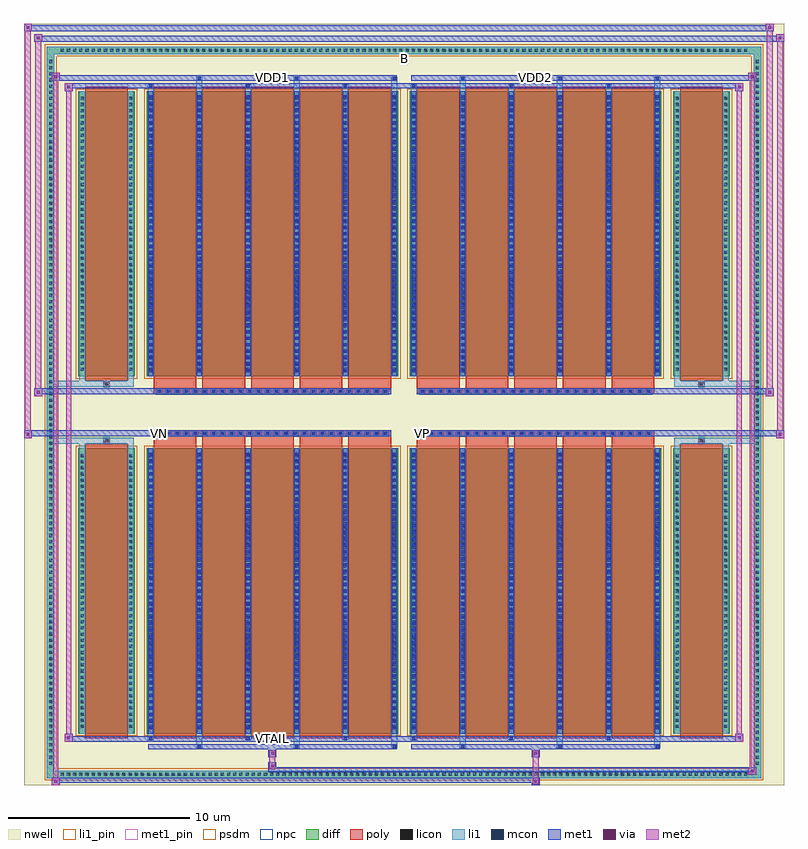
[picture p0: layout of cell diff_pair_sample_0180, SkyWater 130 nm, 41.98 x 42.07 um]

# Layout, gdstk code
import gdstk
lib = gdstk.Library(unit=1e-6, precision=5e-09)
def R(c, l, rs):  # rectangles x0, y0, x1, y1
    for r in rs: c.add(gdstk.rectangle(r[:2], r[2:], *l))
def A(c, l, x, y, w, h, nx, ny, dx, dy):  # array of equal rectangles
    R(c, l, [(x+i*dx, y+j*dy, x+i*dx+w, y+j*dy+h) for i in range(nx) for j in range(ny)])
def P(c, l, *ps):  # polygons
    for p in ps: c.add(gdstk.Polygon(p, *l))
nwell = (64, 20)
diff = (65, 20)
poly = (66, 20)
licon = (66, 44)
li1_pin = (67, 16)
li1 = (67, 20)
mcon = (67, 44)
met1_pin = (68, 16)
met1 = (68, 20)
via = (68, 44)
met2 = (69, 20)
psdm = (94, 20)
npc = (95, 20)

diff_pair_sample_0180 = lib.new_cell('diff_pair_sample_0180')
R(diff_pair_sample_0180, nwell, [(-20.99,-20.6,20.99,21.47), (-18.31,-18.79,-0.01,-0.795), (0.01,-18.79,18.31,-0.795), (-18.31,0.795,-0.01,18.79), (0.01,0.795,18.31,18.79)])
A(diff_pair_sample_0180, diff, -19.075, -20.2, 0.41, 0.41, 112, 2, 0.34, 39.99)
A(diff_pair_sample_0180, diff, -19.72, -19.585, 0.41, 0.41, 1, 115, 0, 0.34)
A(diff_pair_sample_0180, diff, 19.31, -19.585, 0.41, 0.41, 1, 115, 0, 0.34)
R(diff_pair_sample_0180, diff, [(-19.075,-20.2,19.075,-19.79), (-19.72,-19.585,-19.31,19.585), (19.31,-19.585,19.72,19.585), (-18,-17.745,-14.86,-1.985), (-14.22,-17.745,-0.32,-1.985), (0.32,-17.745,14.22,-1.985), (14.86,-17.745,18,-1.985), (-18,1.985,-14.86,17.745), (-14.22,1.985,-0.32,17.745), (0.32,1.985,14.22,17.745), (14.86,1.985,18,17.745), (-19.075,19.79,19.075,20.2)])
P(diff_pair_sample_0180, diff, [(19.72,20.2),(-19.72,20.2),(-19.72,-19.79),(-19.31,-19.79),(-19.31,19.79),(19.31,19.79),(19.31,-19.79),(-19.31,-19.79),(-19.72,-19.79),(-19.72,-20.2),(19.72,-20.2)])
A(diff_pair_sample_0180, poly, -13.83, -17.995, 2.36, 16.26, 5, 2, 2.69, 19.73)
A(diff_pair_sample_0180, poly, 0.71, -17.995, 2.36, 16.26, 5, 2, 2.69, 19.73)
A(diff_pair_sample_0180, poly, -13.83, -1.735, 2.36, 0.41, 5, 2, 2.69, 3.06)
A(diff_pair_sample_0180, poly, 0.71, -1.735, 2.36, 0.41, 5, 2, 2.69, 3.06)
A(diff_pair_sample_0180, poly, -13.685, -1.325, 0.33, 0.33, 26, 2, 0.5, 2.32)
A(diff_pair_sample_0180, poly, 0.855, -1.325, 0.33, 0.33, 26, 2, 0.5, 2.32)
R(diff_pair_sample_0180, poly, [(-17.61,-17.995,-15.25,-1.735), (15.25,-17.995,17.61,-1.735), (-16.595,-1.735,-16.265,-1.405), (-16.595,-1.735,-16.265,-1.405), (16.265,-1.735,16.595,-1.405), (16.265,-1.735,16.595,-1.405), (-13.83,-1.325,-0.71,-0.995), (0.71,-1.325,13.83,-0.995), (-13.83,0.995,-0.71,1.325), (0.71,0.995,13.83,1.325), (-16.595,1.405,-16.265,1.735), (-16.595,1.405,-16.265,1.735), (16.265,1.405,16.595,1.735), (16.265,1.405,16.595,1.735), (-17.61,1.735,-15.25,17.995), (15.25,1.735,17.61,17.995)])
A(diff_pair_sample_0180, licon, -18.955, -20.08, 0.17, 0.17, 112, 2, 0.34, 39.99)
A(diff_pair_sample_0180, licon, -19.6, -19.465, 0.17, 0.17, 1, 115, 0, 0.34)
A(diff_pair_sample_0180, licon, 19.43, -19.465, 0.17, 0.17, 1, 115, 0, 0.34)
A(diff_pair_sample_0180, licon, -17.86, -17.43, 0.17, 0.17, 1, 45, 0, 0.34)
A(diff_pair_sample_0180, licon, -15.17, -17.43, 0.17, 0.17, 1, 45, 0, 0.34)
A(diff_pair_sample_0180, licon, -14.08, -17.43, 0.17, 0.17, 6, 45, 2.69, 0.34)
A(diff_pair_sample_0180, licon, 0.46, -17.43, 0.17, 0.17, 6, 45, 2.69, 0.34)
A(diff_pair_sample_0180, licon, 15, -17.43, 0.17, 0.17, 1, 45, 0, 0.34)
A(diff_pair_sample_0180, licon, 17.69, -17.43, 0.17, 0.17, 1, 45, 0, 0.34)
A(diff_pair_sample_0180, licon, -13.605, -1.245, 0.17, 0.17, 26, 2, 0.5, 2.32)
A(diff_pair_sample_0180, licon, 0.935, -1.245, 0.17, 0.17, 26, 2, 0.5, 2.32)
A(diff_pair_sample_0180, licon, -17.86, 2.3, 0.17, 0.17, 1, 45, 0, 0.34)
A(diff_pair_sample_0180, licon, -15.17, 2.3, 0.17, 0.17, 1, 45, 0, 0.34)
A(diff_pair_sample_0180, licon, -14.08, 2.3, 0.17, 0.17, 6, 45, 2.69, 0.34)
A(diff_pair_sample_0180, licon, 0.46, 2.3, 0.17, 0.17, 6, 45, 2.69, 0.34)
A(diff_pair_sample_0180, licon, 15, 2.3, 0.17, 0.17, 1, 45, 0, 0.34)
A(diff_pair_sample_0180, licon, 17.69, 2.3, 0.17, 0.17, 1, 45, 0, 0.34)
R(diff_pair_sample_0180, licon, [(-16.515,-1.655,-16.345,-1.485), (16.345,-1.655,16.515,-1.485), (-16.515,1.485,-16.345,1.655), (16.345,1.485,16.515,1.655)])
R(diff_pair_sample_0180, li1_pin, [(-0.25,19.29,0.25,19.79)])
A(diff_pair_sample_0180, li1, -19.035, -20.16, 0.33, 0.33, 112, 2, 0.34, 39.99)
A(diff_pair_sample_0180, li1, -19.68, -19.545, 0.33, 0.33, 1, 115, 0, 0.34)
A(diff_pair_sample_0180, li1, 19.35, -19.545, 0.33, 0.33, 1, 115, 0, 0.34)
A(diff_pair_sample_0180, li1, -11.47, -18.55, 0.33, 0.805, 3, 2, 5.38, 36.295)
A(diff_pair_sample_0180, li1, -11.39, -18.55, 0.17, 0.17, 3, 2, 5.38, 36.93)
A(diff_pair_sample_0180, li1, 3.07, -18.55, 0.33, 0.805, 3, 2, 5.38, 36.295)
A(diff_pair_sample_0180, li1, 3.15, -18.55, 0.17, 0.17, 3, 2, 5.38, 36.93)
A(diff_pair_sample_0180, li1, -14.16, -18.12, 0.33, 0.375, 3, 2, 5.38, 35.865)
A(diff_pair_sample_0180, li1, -14.08, -18.12, 0.17, 0.17, 3, 2, 5.38, 36.07)
A(diff_pair_sample_0180, li1, 0.38, -18.12, 0.33, 0.375, 3, 2, 5.38, 35.865)
A(diff_pair_sample_0180, li1, 0.46, -18.12, 0.17, 0.17, 3, 2, 5.38, 36.07)
A(diff_pair_sample_0180, li1, -14.16, -17.745, 0.33, 15.76, 6, 2, 2.69, 19.73)
A(diff_pair_sample_0180, li1, 0.38, -17.745, 0.33, 15.76, 6, 2, 2.69, 19.73)
A(diff_pair_sample_0180, li1, -17.94, -17.51, 0.33, 0.33, 1, 45, 0, 0.34)
A(diff_pair_sample_0180, li1, -15.25, -17.51, 0.33, 0.33, 1, 45, 0, 0.34)
A(diff_pair_sample_0180, li1, -14.16, -17.51, 0.33, 0.33, 6, 45, 2.69, 0.34)
A(diff_pair_sample_0180, li1, -14.08, -17.51, 0.17, 0.17, 6, 43, 2.69, 0.36)
A(diff_pair_sample_0180, li1, -14.08, -17.51, 0.17, 15.29, 6, 2, 2.69, 19.73)
A(diff_pair_sample_0180, li1, 0.38, -17.51, 0.33, 0.33, 6, 45, 2.69, 0.34)
A(diff_pair_sample_0180, li1, 0.46, -17.51, 0.17, 0.17, 6, 43, 2.69, 0.36)
A(diff_pair_sample_0180, li1, 0.46, -17.51, 0.17, 15.29, 6, 2, 2.69, 19.73)
A(diff_pair_sample_0180, li1, 14.92, -17.51, 0.33, 0.33, 1, 45, 0, 0.34)
A(diff_pair_sample_0180, li1, 17.61, -17.51, 0.33, 0.33, 1, 45, 0, 0.34)
A(diff_pair_sample_0180, li1, -13.685, -1.325, 0.33, 0.33, 26, 2, 0.5, 2.32)
A(diff_pair_sample_0180, li1, 0.855, -1.325, 0.33, 0.33, 26, 2, 0.5, 2.32)
A(diff_pair_sample_0180, li1, -17.94, 2.22, 0.33, 0.33, 1, 45, 0, 0.34)
A(diff_pair_sample_0180, li1, -15.25, 2.22, 0.33, 0.33, 1, 45, 0, 0.34)
A(diff_pair_sample_0180, li1, -14.16, 2.22, 0.33, 0.33, 6, 45, 2.69, 0.34)
A(diff_pair_sample_0180, li1, -14.08, 2.22, 0.17, 0.17, 6, 43, 2.69, 0.36)
A(diff_pair_sample_0180, li1, 0.38, 2.22, 0.33, 0.33, 6, 45, 2.69, 0.34)
A(diff_pair_sample_0180, li1, 0.46, 2.22, 0.17, 0.17, 6, 43, 2.69, 0.36)
A(diff_pair_sample_0180, li1, 14.92, 2.22, 0.33, 0.33, 1, 45, 0, 0.34)
A(diff_pair_sample_0180, li1, 17.61, 2.22, 0.33, 0.33, 1, 45, 0, 0.34)
R(diff_pair_sample_0180, li1, [(-19.72,-20.2,-19.31,-19.79), (-19.72,-20.2,-19.31,-19.79), (-19.31,-20.2,19.31,-19.79), (19.31,-20.2,19.72,-19.79), (19.31,-20.2,19.72,-19.79), (-19.72,-19.79,-19.31,19.79), (19.31,-19.79,19.72,19.79), (-17.94,-17.745,-17.61,-1.985), (-15.25,-17.745,-14.92,-1.985), (14.92,-17.745,15.25,-1.985), (17.61,-17.745,17.94,-1.985), (-17.94,-1.985,-17.61,-1.405), (-15.25,-1.985,-14.92,-1.405), (14.92,-1.985,15.25,-1.405), (17.61,-1.985,17.94,-1.405), (-19.72,-1.735,-16.595,-1.405), (-17.94,-1.735,-16.595,-1.405), (-16.595,-1.735,-16.265,-1.405), (-16.265,-1.735,-14.92,-1.405), (14.92,-1.735,16.265,-1.405), (16.265,-1.735,16.595,-1.405), (16.265,-1.735,19.72,-1.405), (16.595,-1.735,17.94,-1.405), (-19.72,1.405,-16.595,1.735), (-17.94,1.405,-16.595,1.735), (-17.94,1.405,-17.61,1.985), (-16.595,1.405,-16.265,1.735), (-16.265,1.405,-14.92,1.735), (-15.25,1.405,-14.92,1.985), (14.92,1.405,16.265,1.735), (14.92,1.405,15.25,1.985), (16.265,1.405,16.595,1.735), (16.265,1.405,19.72,1.735), (16.595,1.405,17.94,1.735), (17.61,1.405,17.94,1.985), (-17.94,1.985,-17.61,17.745), (-15.25,1.985,-14.92,17.745), (14.92,1.985,15.25,17.745), (17.61,1.985,17.94,17.745), (-19.72,19.79,-19.31,20.2), (-19.72,19.79,-19.31,20.2), (-19.31,19.79,19.31,20.2), (19.31,19.79,19.72,20.2), (19.31,19.79,19.72,20.2)])
A(diff_pair_sample_0180, mcon, -11.39, -18.55, 0.17, 0.17, 3, 2, 5.38, 36.93)
A(diff_pair_sample_0180, mcon, 3.15, -18.55, 0.17, 0.17, 3, 2, 5.38, 36.93)
A(diff_pair_sample_0180, mcon, -14.08, -18.12, 0.17, 0.17, 3, 2, 5.38, 36.07)
A(diff_pair_sample_0180, mcon, 0.46, -18.12, 0.17, 0.17, 3, 2, 5.38, 36.07)
A(diff_pair_sample_0180, mcon, -14.08, -17.51, 0.17, 0.17, 6, 43, 2.69, 0.36)
A(diff_pair_sample_0180, mcon, 0.46, -17.51, 0.17, 0.17, 6, 43, 2.69, 0.36)
A(diff_pair_sample_0180, mcon, -13.605, -1.245, 0.17, 0.17, 26, 2, 0.5, 2.32)
A(diff_pair_sample_0180, mcon, 0.935, -1.245, 0.17, 0.17, 26, 2, 0.5, 2.32)
A(diff_pair_sample_0180, mcon, -14.08, 2.22, 0.17, 0.17, 6, 43, 2.69, 0.36)
A(diff_pair_sample_0180, mcon, 0.46, 2.22, 0.17, 0.17, 6, 43, 2.69, 0.36)
R(diff_pair_sample_0180, met1_pin, [(-7.405,-18.16,-7.135,-17.89), (-13.655,-1.285,-13.385,-1.015), (0.885,-1.285,1.155,-1.015), (-7.405,18.34,-7.135,18.61), (7.135,18.34,7.405,18.61)])
A(diff_pair_sample_0180, met1, -11.45, -18.61, 0.29, 0.29, 3, 2, 5.38, 36.93)
A(diff_pair_sample_0180, met1, 3.09, -18.61, 0.29, 0.29, 3, 2, 5.38, 36.93)
A(diff_pair_sample_0180, met1, -14.14, -18.18, 0.29, 0.29, 3, 2, 5.38, 36.07)
A(diff_pair_sample_0180, met1, 0.4, -18.18, 0.29, 0.29, 3, 2, 5.38, 36.07)
A(diff_pair_sample_0180, met1, -14.14, -17.745, 0.29, 15.76, 6, 2, 2.69, 19.73)
A(diff_pair_sample_0180, met1, 0.4, -17.745, 0.29, 15.76, 6, 2, 2.69, 19.73)
A(diff_pair_sample_0180, met1, -14.14, -17.57, 0.29, 0.29, 6, 43, 2.69, 0.36)
A(diff_pair_sample_0180, met1, 0.4, -17.57, 0.29, 0.29, 6, 43, 2.69, 0.36)
A(diff_pair_sample_0180, met1, -13.665, -1.305, 0.29, 0.29, 26, 2, 0.5, 2.32)
A(diff_pair_sample_0180, met1, 0.875, -1.305, 0.29, 0.29, 26, 2, 0.5, 2.32)
A(diff_pair_sample_0180, met1, -14.14, 2.16, 0.29, 0.29, 6, 43, 2.69, 0.36)
A(diff_pair_sample_0180, met1, 0.4, 2.16, 0.29, 0.29, 6, 43, 2.69, 0.36)
R(diff_pair_sample_0180, met1, [(-19.45,-20.6,-19.02,-20.17), (7.055,-20.6,7.485,-20.17), (-19.45,-20.46,7.485,-20.17), (19.02,-20.03,19.45,-19.6), (-7.485,-19.89,19.45,-19.6), (-7.485,-19.75,-7.055,-19.32), (-7.485,-19.04,-7.055,-18.61), (7.055,-19.04,7.485,-18.61), (-14.14,-18.61,-0.4,-18.32), (0.4,-18.61,14.14,-18.32), (-18.74,-18.18,-18.31,-17.75), (-18.74,-18.18,-14.14,-17.89), (-14.14,-18.18,-0.4,-17.89), (-0.4,-18.18,0.4,-17.89), (0.4,-18.18,14.14,-17.89), (14.14,-18.18,18.74,-17.89), (18.31,-18.18,18.74,-17.75), (-20.99,-1.425,-20.56,-0.995), (20.56,-1.425,20.99,-0.995), (-20.99,-1.325,-0.71,-0.995), (-13.83,-1.325,-0.71,-0.995), (0.71,-1.325,13.83,-0.995), (0.71,-1.325,20.99,-0.995), (-20.42,0.895,-19.99,1.325), (19.99,0.895,20.42,1.325), (-20.42,0.995,-13.83,1.325), (-13.83,0.995,-0.71,1.325), (0.71,0.995,13.83,1.325), (13.83,0.995,20.42,1.325), (-18.74,17.75,-18.31,18.18), (18.31,17.75,18.74,18.18), (-18.74,17.89,-14.14,18.18), (-14.14,17.89,-0.4,18.18), (-0.4,17.89,0.4,18.18), (0.4,17.89,14.14,18.18), (14.14,17.89,18.74,18.18), (-19.45,18.32,-19.02,18.75), (-19.45,18.32,-14.14,18.61), (-14.14,18.32,-0.4,18.61), (0.4,18.32,14.14,18.61), (14.14,18.32,19.45,18.61), (19.02,18.32,19.45,18.75), (-20.42,20.47,-19.99,20.9), (-20.42,20.47,-18.31,20.8), (-18.31,20.47,18.31,20.8), (18.31,20.47,20.99,20.8), (20.56,20.47,20.99,20.9), (-20.99,21.04,-20.56,21.47), (-20.99,21.04,-18.31,21.37), (-18.31,21.04,18.31,21.37), (18.31,21.04,20.42,21.37), (19.99,21.04,20.42,21.47)])
R(diff_pair_sample_0180, via, [(-19.31,-20.46,-19.16,-20.31), (7.195,-20.46,7.345,-20.31), (19.16,-19.89,19.31,-19.74), (-7.345,-19.61,-7.195,-19.46), (-7.345,-18.9,-7.195,-18.75), (7.195,-18.9,7.345,-18.75), (-18.6,-18.04,-18.45,-17.89), (18.45,-18.04,18.6,-17.89), (-20.85,-1.285,-20.7,-1.135), (20.7,-1.285,20.85,-1.135), (-20.28,1.035,-20.13,1.185), (20.13,1.035,20.28,1.185), (-18.6,17.89,-18.45,18.04), (18.45,17.89,18.6,18.04), (-19.31,18.46,-19.16,18.61), (19.16,18.46,19.31,18.61), (-20.28,20.61,-20.13,20.76), (20.7,20.61,20.85,20.76), (-20.85,21.18,-20.7,21.33), (20.13,21.18,20.28,21.33)])
R(diff_pair_sample_0180, met2, [(-19.45,-20.6,-19.02,-20.17), (-19.38,-20.6,-19.09,18.75), (-19.09,-20.6,-19.02,-20.17), (-19.4,-20.55,-19.07,-20.22), (7.105,-20.55,7.435,-20.22), (7.105,-20.22,7.435,-18.99), (19.02,-20.03,19.45,-19.6), (19.09,-20.03,19.38,18.75), (19.38,-20.03,19.45,-19.6), (19.07,-19.98,19.4,-19.65), (-7.435,-19.7,-7.105,-19.37), (-7.435,-19.37,-7.105,-18.99), (-7.435,-18.99,-7.105,-18.66), (7.105,-18.99,7.435,-18.66), (-18.74,-18.18,-18.31,-17.75), (-18.67,-18.18,-18.38,18.18), (-18.38,-18.18,-18.31,-17.75), (18.31,-18.18,18.74,-17.75), (18.38,-18.18,18.67,18.18), (18.67,-18.18,18.74,-17.75), (-18.69,-18.13,-18.36,-17.8), (18.36,-18.13,18.69,-17.8), (-20.99,-1.425,-20.56,-0.995), (-20.94,-1.425,-20.61,21.47), (-20.61,-1.425,-20.56,-0.995), (20.56,-1.425,20.99,-0.995), (20.61,-1.425,20.94,20.9), (20.94,-1.425,20.99,-0.995), (-20.94,-1.375,-20.61,-1.045), (20.61,-1.375,20.94,-1.045), (-20.42,0.895,-19.99,1.325), (-20.37,0.895,-20.04,20.9), (-20.04,0.895,-19.99,1.325), (19.99,0.895,20.42,1.325), (20.04,0.895,20.37,21.47), (20.37,0.895,20.42,1.325), (-20.37,0.945,-20.04,1.275), (20.04,0.945,20.37,1.275), (-18.74,17.75,-18.31,18.18), (-18.38,17.75,-18.31,18.18), (18.31,17.75,18.74,18.18), (18.67,17.75,18.74,18.18), (-18.69,17.8,-18.36,18.13), (18.36,17.8,18.69,18.13), (-19.45,18.32,-19.02,18.75), (-19.09,18.32,-19.02,18.75), (19.02,18.32,19.45,18.75), (19.38,18.32,19.45,18.75), (-19.4,18.37,-19.07,18.7), (19.07,18.37,19.4,18.7), (-20.42,20.47,-19.99,20.9), (-20.04,20.47,-19.99,20.9), (20.56,20.47,20.99,20.9), (20.94,20.47,20.99,20.9), (-20.37,20.52,-20.04,20.85), (20.61,20.52,20.94,20.85), (-20.99,21.04,-20.56,21.47), (-20.61,21.04,-20.56,21.47), (19.99,21.04,20.42,21.47), (20.37,21.04,20.42,21.47), (-20.94,21.09,-20.61,21.42), (20.04,21.09,20.37,21.42)])
R(diff_pair_sample_0180, psdm, [(-18.13,-17.875,-14.73,-1.855), (-14.35,-17.875,-0.19,-1.855), (0.19,-17.875,14.35,-1.855), (14.73,-17.875,18.13,-1.855), (-18.13,1.855,-14.73,17.875), (-14.35,1.855,-0.19,17.875), (0.19,1.855,14.35,17.875), (14.73,1.855,18.13,17.875)])
P(diff_pair_sample_0180, psdm, [(19.85,20.33),(-19.85,20.33),(-19.85,-19.66),(-19.18,-19.66),(-19.18,19.66),(19.18,19.66),(19.18,-19.66),(-19.18,-19.66),(-19.85,-19.66),(-19.85,-20.33),(19.85,-20.33)])
A(diff_pair_sample_0180, npc, -13.705, -1.345, 0.37, 0.37, 26, 2, 0.5, 2.32)
A(diff_pair_sample_0180, npc, 0.835, -1.345, 0.37, 0.37, 26, 2, 0.5, 2.32)
R(diff_pair_sample_0180, npc, [(-16.615,-1.755,-16.245,-1.385), (16.245,-1.755,16.615,-1.385), (-13.705,-1.345,-12.835,-0.975), (-13.705,-1.345,-12.835,-0.975), (-13.205,-1.345,-12.335,-0.975), (-13.205,-1.345,-12.335,-0.975), (-12.705,-1.345,-11.835,-0.975), (-12.705,-1.345,-11.835,-0.975), (-12.205,-1.345,-11.335,-0.975), (-12.205,-1.345,-11.335,-0.975), (-11.705,-1.345,-10.835,-0.975), (-11.705,-1.345,-10.835,-0.975), (-11.205,-1.345,-10.335,-0.975), (-11.205,-1.345,-10.335,-0.975), (-10.705,-1.345,-9.835,-0.975), (-10.705,-1.345,-9.835,-0.975), (-10.205,-1.345,-9.335,-0.975), (-10.205,-1.345,-9.335,-0.975), (-9.705,-1.345,-8.835,-0.975), (-9.705,-1.345,-8.835,-0.975), (-9.205,-1.345,-8.335,-0.975), (-9.205,-1.345,-8.335,-0.975), (-8.705,-1.345,-7.835,-0.975), (-8.705,-1.345,-7.835,-0.975), (-8.205,-1.345,-7.335,-0.975), (-8.205,-1.345,-7.335,-0.975), (-7.705,-1.345,-6.835,-0.975), (-7.705,-1.345,-6.835,-0.975), (-7.205,-1.345,-6.335,-0.975), (-7.205,-1.345,-6.335,-0.975), (-6.705,-1.345,-5.835,-0.975), (-6.705,-1.345,-5.835,-0.975), (-6.205,-1.345,-5.335,-0.975), (-6.205,-1.345,-5.335,-0.975), (-5.705,-1.345,-4.835,-0.975), (-5.705,-1.345,-4.835,-0.975), (-5.205,-1.345,-4.335,-0.975), (-5.205,-1.345,-4.335,-0.975), (-4.705,-1.345,-3.835,-0.975), (-4.705,-1.345,-3.835,-0.975), (-4.205,-1.345,-3.335,-0.975), (-4.205,-1.345,-3.335,-0.975), (-3.705,-1.345,-2.835,-0.975), (-3.705,-1.345,-2.835,-0.975), (-3.205,-1.345,-2.335,-0.975), (-3.205,-1.345,-2.335,-0.975), (-2.705,-1.345,-1.835,-0.975), (-2.705,-1.345,-1.835,-0.975), (-2.205,-1.345,-1.335,-0.975), (-2.205,-1.345,-1.335,-0.975), (-1.705,-1.345,-0.835,-0.975), (-1.705,-1.345,-0.835,-0.975), (0.835,-1.345,1.705,-0.975), (0.835,-1.345,1.705,-0.975), (1.335,-1.345,2.205,-0.975), (1.335,-1.345,2.205,-0.975), (1.835,-1.345,2.705,-0.975), (1.835,-1.345,2.705,-0.975), (2.335,-1.345,3.205,-0.975), (2.335,-1.345,3.205,-0.975), (2.835,-1.345,3.705,-0.975), (2.835,-1.345,3.705,-0.975), (3.335,-1.345,4.205,-0.975), (3.335,-1.345,4.205,-0.975), (3.835,-1.345,4.705,-0.975), (3.835,-1.345,4.705,-0.975), (4.335,-1.345,5.205,-0.975), (4.335,-1.345,5.205,-0.975), (4.835,-1.345,5.705,-0.975), (4.835,-1.345,5.705,-0.975), (5.335,-1.345,6.205,-0.975), (5.335,-1.345,6.205,-0.975), (5.835,-1.345,6.705,-0.975), (5.835,-1.345,6.705,-0.975), (6.335,-1.345,7.205,-0.975), (6.335,-1.345,7.205,-0.975), (6.835,-1.345,7.705,-0.975), (6.835,-1.345,7.705,-0.975), (7.335,-1.345,8.205,-0.975), (7.335,-1.345,8.205,-0.975), (7.835,-1.345,8.705,-0.975), (7.835,-1.345,8.705,-0.975), (8.335,-1.345,9.205,-0.975), (8.335,-1.345,9.205,-0.975), (8.835,-1.345,9.705,-0.975), (8.835,-1.345,9.705,-0.975), (9.335,-1.345,10.205,-0.975), (9.335,-1.345,10.205,-0.975), (9.835,-1.345,10.705,-0.975), (9.835,-1.345,10.705,-0.975), (10.335,-1.345,11.205,-0.975), (10.335,-1.345,11.205,-0.975), (10.835,-1.345,11.705,-0.975), (10.835,-1.345,11.705,-0.975), (11.335,-1.345,12.205,-0.975), (11.335,-1.345,12.205,-0.975), (11.835,-1.345,12.705,-0.975), (11.835,-1.345,12.705,-0.975), (12.335,-1.345,13.205,-0.975), (12.335,-1.345,13.205,-0.975), (12.835,-1.345,13.705,-0.975), (12.835,-1.345,13.705,-0.975), (-13.705,0.975,-12.835,1.345), (-13.705,0.975,-12.835,1.345), (-13.205,0.975,-12.335,1.345), (-13.205,0.975,-12.335,1.345), (-12.705,0.975,-11.835,1.345), (-12.705,0.975,-11.835,1.345), (-12.205,0.975,-11.335,1.345), (-12.205,0.975,-11.335,1.345), (-11.705,0.975,-10.835,1.345), (-11.705,0.975,-10.835,1.345), (-11.205,0.975,-10.335,1.345), (-11.205,0.975,-10.335,1.345), (-10.705,0.975,-9.835,1.345), (-10.705,0.975,-9.835,1.345), (-10.205,0.975,-9.335,1.345), (-10.205,0.975,-9.335,1.345), (-9.705,0.975,-8.835,1.345), (-9.705,0.975,-8.835,1.345), (-9.205,0.975,-8.335,1.345), (-9.205,0.975,-8.335,1.345), (-8.705,0.975,-7.835,1.345), (-8.705,0.975,-7.835,1.345), (-8.205,0.975,-7.335,1.345), (-8.205,0.975,-7.335,1.345), (-7.705,0.975,-6.835,1.345), (-7.705,0.975,-6.835,1.345), (-7.205,0.975,-6.335,1.345), (-7.205,0.975,-6.335,1.345), (-6.705,0.975,-5.835,1.345), (-6.705,0.975,-5.835,1.345), (-6.205,0.975,-5.335,1.345), (-6.205,0.975,-5.335,1.345), (-5.705,0.975,-4.835,1.345), (-5.705,0.975,-4.835,1.345), (-5.205,0.975,-4.335,1.345), (-5.205,0.975,-4.335,1.345), (-4.705,0.975,-3.835,1.345), (-4.705,0.975,-3.835,1.345), (-4.205,0.975,-3.335,1.345), (-4.205,0.975,-3.335,1.345), (-3.705,0.975,-2.835,1.345), (-3.705,0.975,-2.835,1.345), (-3.205,0.975,-2.335,1.345), (-3.205,0.975,-2.335,1.345), (-2.705,0.975,-1.835,1.345), (-2.705,0.975,-1.835,1.345), (-2.205,0.975,-1.335,1.345), (-2.205,0.975,-1.335,1.345), (-1.705,0.975,-0.835,1.345), (-1.705,0.975,-0.835,1.345), (0.835,0.975,1.705,1.345), (0.835,0.975,1.705,1.345), (1.335,0.975,2.205,1.345), (1.335,0.975,2.205,1.345), (1.835,0.975,2.705,1.345), (1.835,0.975,2.705,1.345), (2.335,0.975,3.205,1.345), (2.335,0.975,3.205,1.345), (2.835,0.975,3.705,1.345), (2.835,0.975,3.705,1.345), (3.335,0.975,4.205,1.345), (3.335,0.975,4.205,1.345), (3.835,0.975,4.705,1.345), (3.835,0.975,4.705,1.345), (4.335,0.975,5.205,1.345), (4.335,0.975,5.205,1.345), (4.835,0.975,5.705,1.345), (4.835,0.975,5.705,1.345), (5.335,0.975,6.205,1.345), (5.335,0.975,6.205,1.345), (5.835,0.975,6.705,1.345), (5.835,0.975,6.705,1.345), (6.335,0.975,7.205,1.345), (6.335,0.975,7.205,1.345), (6.835,0.975,7.705,1.345), (6.835,0.975,7.705,1.345), (7.335,0.975,8.205,1.345), (7.335,0.975,8.205,1.345), (7.835,0.975,8.705,1.345), (7.835,0.975,8.705,1.345), (8.335,0.975,9.205,1.345), (8.335,0.975,9.205,1.345), (8.835,0.975,9.705,1.345), (8.835,0.975,9.705,1.345), (9.335,0.975,10.205,1.345), (9.335,0.975,10.205,1.345), (9.835,0.975,10.705,1.345), (9.835,0.975,10.705,1.345), (10.335,0.975,11.205,1.345), (10.335,0.975,11.205,1.345), (10.835,0.975,11.705,1.345), (10.835,0.975,11.705,1.345), (11.335,0.975,12.205,1.345), (11.335,0.975,12.205,1.345), (11.835,0.975,12.705,1.345), (11.835,0.975,12.705,1.345), (12.335,0.975,13.205,1.345), (12.335,0.975,13.205,1.345), (12.835,0.975,13.705,1.345), (12.835,0.975,13.705,1.345), (-16.615,1.385,-16.245,1.755), (16.245,1.385,16.615,1.755)])
diff_pair_sample_0180.add(gdstk.Label('VTAIL', (-7.27,-18.025), layer=68, texttype=5))
diff_pair_sample_0180.add(gdstk.Label('VN', (-13.52,-1.15), layer=68, texttype=5))
diff_pair_sample_0180.add(gdstk.Label('VP', (1.02,-1.15), layer=68, texttype=5))
diff_pair_sample_0180.add(gdstk.Label('B', (0,19.54), layer=67, texttype=5))
diff_pair_sample_0180.add(gdstk.Label('VDD2', (7.27,18.475), layer=68, texttype=5))
diff_pair_sample_0180.add(gdstk.Label('VDD1', (-7.27,18.475), layer=68, texttype=5))

lib.write_gds('diff_pair_sample_0180.gds')
